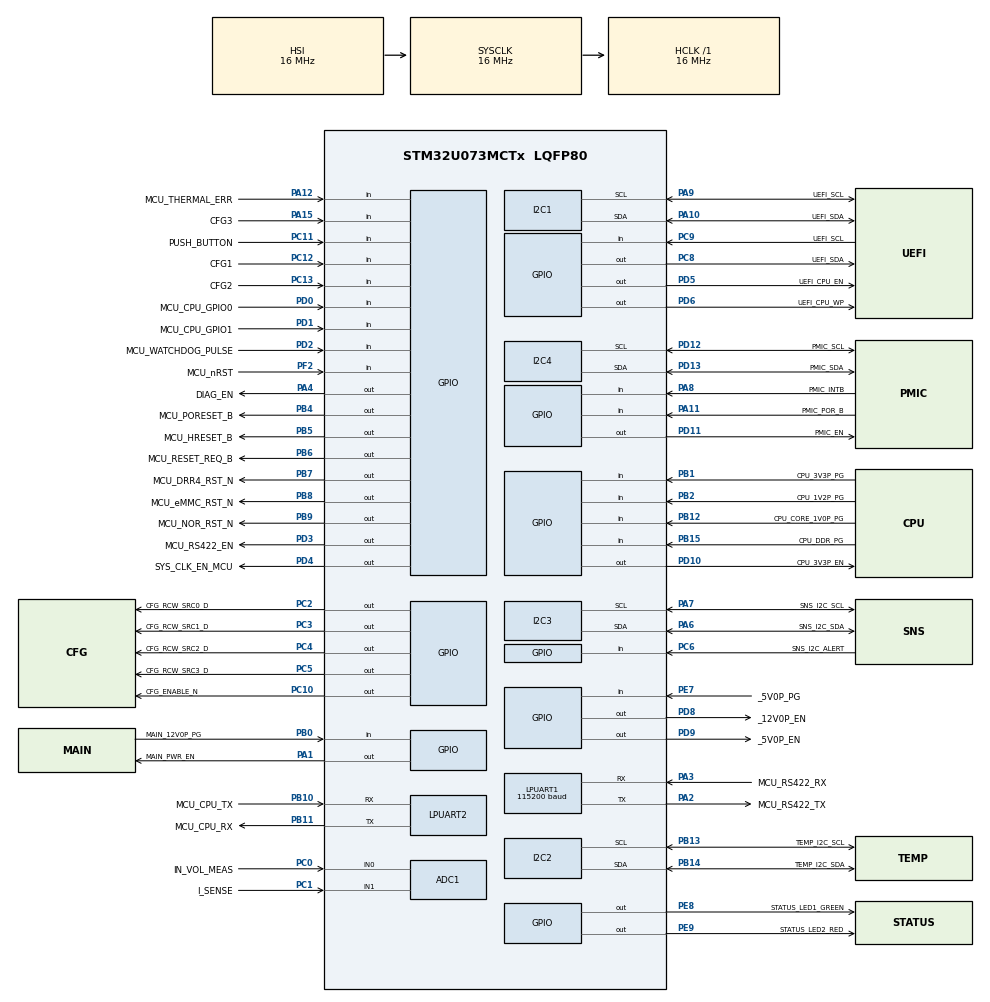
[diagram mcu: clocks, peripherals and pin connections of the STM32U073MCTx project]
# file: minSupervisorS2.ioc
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ADC1.Channel-0\#ChannelRegularConversion=ADC_CHANNEL_0
ADC1.Channel-1\#ChannelRegularConversion=ADC_CHANNEL_1
ADC1.NbrOfConversion=2
ADC1.NbrOfConversionFlag=1
ADC1.Rank-0\#ChannelRegularConversion=1
ADC1.Rank-1\#ChannelRegularConversion=2
ADC1.RankArg-0\#ChannelRegularConversion=ADC_REGULAR_RANK_1
ADC1.RankArg-1\#ChannelRegularConversion=ADC_REGULAR_RANK_2
ADC1.SamplingTime-0\#ChannelRegularConversion=ADC_SAMPLINGTIME_COMMON_1
ADC1.SamplingTime-1\#ChannelRegularConversion=ADC_SAMPLINGTIME_COMMON_1
ADC1.SamplingTimeCommon1=ADC_SAMPLETIME_160CYCLES_5
ADC1.SamplingTimeCommon2=ADC_SAMPLETIME_160CYCLES_5
ADC1.SelectedChannel=ADC_CHANNEL_0|ADC_CHANNEL_1
ADC1.master=1
I2C1.Timing=0x00303D5B
I2C2.Timing=0x00303D5B
I2C3.Timing=0x00303D5B
I2C4.Timing=0x00303D5B
LPUART1.BaudRate=115200
Mcu.Family=STM32U0
Mcu.Name=STM32U073MCTx
Mcu.Package=LQFP80
NVIC.PriorityGroup=NVIC_PRIORITYGROUP_2
PA1.GPIO_Label=MAIN_PWR_EN
PA1.Signal=GPIO_Output
PA10.GPIO_Label=UEFI_SDA
PA10.Mode=I2C
PA10.Signal=I2C1_SDA
PA11\ [PA9].GPIO_Label=PMIC_POR_B
PA11\ [PA9].Signal=GPIO_Input
PA12\ [PA10].GPIO_Label=MCU_THERMAL_ERR
PA12\ [PA10].Signal=GPIO_Input
PA13\ (SWDIO).Mode=Trace_Asynchronous_SW
PA13\ (SWDIO).Signal=DEBUG_JTMS-SWDIO
PA14\ (SWCLK).Mode=Trace_Asynchronous_SW
PA14\ (SWCLK).Signal=DEBUG_JTCK-SWCLK
PA15.GPIO_Label=CFG3
PA15.Signal=GPIO_Input
PA2.GPIO_Label=MCU_RS422_TX
PA2.Mode=Asynchronous
PA2.Signal=LPUART1_TX
PA3.GPIO_Label=MCU_RS422_RX
PA3.Mode=Asynchronous
PA3.Signal=LPUART1_RX
PA4.GPIO_Label=DIAG_EN
PA4.Signal=GPIO_Output
PA6.GPIO_Label=SNS_I2C_SDA
PA6.Mode=I2C
PA6.Signal=I2C3_SDA
PA7.GPIO_Label=SNS_I2C_SCL
PA7.Mode=I2C
PA7.Signal=I2C3_SCL
PA8.GPIO_Label=PMIC_INTB
PA8.Signal=GPIO_Input
PA9.GPIO_Label=UEFI_SCL
PA9.Mode=I2C
PA9.Signal=I2C1_SCL
PB0.GPIO_Label=MAIN_12V0P_PG
PB0.Signal=GPIO_Input
PB1.GPIO_Label=CPU_3V3P_PG
PB1.Signal=GPIO_Input
PB10.GPIO_Label=MCU_CPU_TX
PB10.Mode=Asynchronous
PB10.Signal=LPUART2_RX
PB11.GPIO_Label=MCU_CPU_RX
PB11.Mode=Asynchronous
PB11.Signal=LPUART2_TX
PB12.GPIO_Label=CPU_CORE_1V0P_PG
PB12.Signal=GPIO_Input
PB13.GPIO_Label=TEMP_I2C_SCL
PB13.Mode=I2C
PB13.Signal=I2C2_SCL
PB14.GPIO_Label=TEMP_I2C_SDA
PB14.Mode=I2C
PB14.Signal=I2C2_SDA
PB15.GPIO_Label=CPU_DDR_PG 
PB15.Signal=GPIO_Input
PB2.GPIO_Label=CPU_1V2P_PG
PB2.Signal=GPIO_Input
PB3.GPIO_Label=MCU_SWO
PB3.Mode=Trace_Asynchronous_SW
PB3.Signal=DEBUG_JTDO-SWO
PB4.GPIO_Label=MCU_PORESET_B
PB4.Signal=GPIO_Output
PB5.GPIO_Label=MCU_HRESET_B
PB5.Signal=GPIO_Output
PB6.GPIO_Label=MCU_RESET_REQ_B
PB6.Signal=GPIO_Output
PB7.GPIO_Label=MCU_DRR4_RST_N
PB7.Signal=GPIO_Output
PB8.GPIO_Label=MCU_eMMC_RST_N
PB8.Signal=GPIO_Output
PB9.GPIO_Label=MCU_NOR_RST_N
PB9.Signal=GPIO_Output
PC0.GPIO_Label=IN_VOL_MEAS
PC0.Mode=IN0
PC0.Signal=ADC1_IN0
PC1.GPIO_Label=I_SENSE
PC1.Mode=IN1
PC1.Signal=ADC1_IN1
PC10.GPIO_Label=CFG_ENABLE_N
PC10.Signal=GPIO_Output
PC11.GPIO_Label=PUSH_BUTTON
PC11.Signal=GPIO_Input
PC12.GPIO_Label=CFG1
PC12.Signal=GPIO_Input
PC13.GPIO_Label=CFG2
PC13.Signal=GPIO_Input
PC14-OSC32_IN.GPIO_Label=MCU_OSC_32k_IN
PC14-OSC32_IN.Mode=LSE-External-Oscillator
PC14-OSC32_IN.Signal=RCC_OSC32_IN
PC15-OSC32_OUT.GPIO_Label=MCU_OSC_32k_OUT
PC15-OSC32_OUT.Mode=LSE-External-Oscillator
PC15-OSC32_OUT.Signal=RCC_OSC32_OUT
PC2.GPIO_Label=CFG_RCW_SRC0_D
PC2.Signal=GPIO_Output
PC3.GPIO_Label=CFG_RCW_SRC1_D
PC3.Signal=GPIO_Output
PC4.GPIO_Label=CFG_RCW_SRC2_D
PC4.Signal=GPIO_Output
PC5.GPIO_Label=CFG_RCW_SRC3_D
PC5.Signal=GPIO_Output
PC6.GPIO_Label=SNS_I2C_ALERT
PC6.Signal=GPIO_Input
PC8.GPIO_Label=UEFI_SDA
PC8.Signal=GPIO_Output
PC9.GPIO_Label=UEFI_SCL
PC9.Signal=GPIO_Input
PD0.GPIO_Label=MCU_CPU_GPIO0
PD0.Signal=GPIO_Input
PD1.GPIO_Label=MCU_CPU_GPIO1
PD1.Signal=GPIO_Input
PD10.GPIO_Label=CPU_3V3P_EN
PD10.Signal=GPIO_Output
PD11.GPIO_Label=PMIC_EN
PD11.Signal=GPIO_Output
PD12.GPIO_Label=PMIC_SCL
PD12.Mode=I2C
PD12.Signal=I2C4_SCL
PD13.GPIO_Label=PMIC_SDA
PD13.Mode=I2C
PD13.Signal=I2C4_SDA
PD2.GPIO_Label=MCU_WATCHDOG_PULSE
PD2.Signal=GPIO_Input
PD3.GPIO_Label=MCU_RS422_EN
PD3.Signal=GPIO_Output
PD4.GPIO_Label=SYS_CLK_EN_MCU
PD4.Signal=GPIO_Output
PD5.GPIO_Label=UEFI_CPU_EN
PD5.Signal=GPIO_Output
PD6.GPIO_Label=UEFI_CPU_WP
PD6.Signal=GPIO_Output
PD8.GPIO_Label=_12V0P_EN
PD8.Signal=GPIO_Output
PD9.GPIO_Label=_5V0P_EN
PD9.Signal=GPIO_Output
PE7.GPIO_Label=_5V0P_PG
PE7.Signal=GPIO_Input
PE8.GPIO_Label=STATUS_LED1_GREEN
PE8.Signal=GPIO_Output
PE9.GPIO_Label=STATUS_LED2_RED
PE9.Signal=GPIO_Output
PF0-OSC_IN.GPIO_Label=MCU_XTAL_IN
PF0-OSC_IN.Mode=HSE-External-Oscillator
PF0-OSC_IN.Signal=RCC_OSC_IN
PF1-OSC_OUT.GPIO_Label=MCU_XTAL_OUT
PF1-OSC_OUT.Mode=HSE-External-Oscillator
PF1-OSC_OUT.Signal=RCC_OSC_OUT
PF2-NRST.GPIO_Label=MCU_nRST
PF2-NRST.Signal=GPIO_Input
ProjectManager.HeapSize=0x200
ProjectManager.StackSize=0x400
ProjectManager.TargetToolchain=STM32CubeIDE
RCC.AHBFreq_Value=16000000
RCC.CortexFreq_Value=16000000
RCC.HCLKFreq_Value=16000000
RCC.HSE_VALUE=8000000
RCC.HSI48_VALUE=48000000
RCC.HSI_VALUE=16000000
RCC.MSI_VALUE=4000000
RCC.PLLSourceVirtual=RCC_PLLSOURCE_HSE
RCC.SYSCLKFreq_VALUE=16000000
RCC.VCOOutputFreq_Value=32000000
VP_FLASH_SIG_Activate_FlashIP.Mode=Activate_FlashIP
VP_PWR_VS_SECSignals.Mode=Security/Privilege
board=custom

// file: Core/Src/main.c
/* USER CODE BEGIN Header */
/**
  ******************************************************************************
  * @file           : main.c
  * @brief          : Main program body
  ******************************************************************************
  * @attention
  *
  * Copyright (c) 2025 STMicroelectronics.
  * All rights reserved.
  *
  * This software is licensed under terms that can be found in the LICENSE file
  * in the root directory of this software component.
  * If no LICENSE file comes with this software, it is provided AS-IS.
  *
  ******************************************************************************
  */
/* USER CODE END Header */
#include "main.h"

/* USER CODE BEGIN Includes */
#include "util.h"
#include "INA230.h"
#include "TMP468.h"
/* USER CODE END Includes */

/* USER CODE BEGIN PD */
#define VERSION "0.1 alpha"
/* USER CODE END PD */

ADC_HandleTypeDef hadc1;

I2C_HandleTypeDef hi2c1;
I2C_HandleTypeDef hi2c2;
I2C_HandleTypeDef hi2c3;
I2C_HandleTypeDef hi2c4;

UART_HandleTypeDef hlpuart1;
UART_HandleTypeDef hlpuart2;

void SystemClock_Config(void);
static void MX_GPIO_Init(void);
static void MX_ADC1_Init(void);
static void MX_FLASH_Init(void);
static void MX_I2C1_Init(void);
static void MX_I2C2_Init(void);
static void MX_I2C3_Init(void);
static void MX_I2C4_Init(void);
static void MX_LPUART1_UART_Init(void);
static void MX_LPUART2_UART_Init(void);

/* USER CODE BEGIN 0 */

enum SUPERVISOR_STATE { S_ASSERT, S_RELEASE };
#define STEP_DELAY 200
#define UART_LOG(...) /*Should use LPUART1*/

void ina230write(uint16_t addr, uint8_t reg, uint16_t pData){
  addr <<=1;
  uint8_t data[2]={0};
  data[0]=pData >> 8;
  data[1]=pData & 0xff;

  HAL_I2C_Mem_Write(&hi2c3, addr, reg, 1, data, 2, 1000);
}

uint16_t ina230read(uint16_t addr, uint8_t reg){
  addr <<=1;
  uint8_t data[2]={0};
  HAL_I2C_Mem_Read(&hi2c3, addr, reg, 1, data, 2, 1000);
  uint16_t res = (data[0]<<8)|(data[1]);
  return res;
}

void testINA230(uint8_t addr, uint16_t shuntResistance){
	INA230_t target;
	target = INA230_init(addr, 1, shuntResistance, INA230_SHUNT_ADC_CT_204, INA230_VBUS_ADC_CT_332, INA230_AVG_16, ina230write, ina230read);
	INA230_start(target, INA230_MODE_CONTINOUS_ALL);
	HAL_Delay(100);

	uint16_t id = INA230_getID(target);
	 int16_t bus = INA230_getVoltageBus(target);
	 int16_t shunt = INA230_getVoltageShunt(target);
	 int16_t current = INA230_getCurrent(target);
	uint16_t callibration = INA230_getCalibration(target);
	uint16_t power = INA230_getPower(target);
	log_printf("INA230 id:0x%04x addr 0x%x bus:%5dmV shunt:%4duV A:%3dmA P:%4umW calibr:%u\r\n", id, addr, bus, shunt, current, power, callibration);
	INA230_stop(target);
}

void TMP468write(uint16_t addr, uint8_t reg, uint16_t pData){
  addr <<=1;
  uint8_t data[2]={0};
  data[0]=pData >> 8;
  data[1]=pData & 0xff;

  HAL_I2C_Mem_Write(&hi2c2, addr, reg, 1, data, 2, 1000);
}

uint16_t TMP468read(uint16_t addr, uint8_t reg){
  addr <<=1;
  uint8_t data[2]={0};
  HAL_I2C_Mem_Read(&hi2c2, addr, reg, 1, data, 2, 1000);
  uint16_t res = (data[0]<<8)|(data[1]);
  return res;
}

void testTMP469(void){
	TMP468_t target  = TMP468_init(0x48, TMP468_CONVERSION_RATE_CONTINUOUS, 0, 255.5, 255.5,
					 TMP468write, TMP468read);

//	uint16_t mid = target.i2c_read(target.addr, TMP468_REG_MANID);
//	uint16_t did = target.i2c_read(target.addr, TMP468_REG_DEVID);
//	log_printf("TI instruments TMP469 mid:%x did:%d \r\n", mid, did);

	TMP468_unlock(target);

	do{
		   for (int i = 0; i<9; i++){
			   log_printf("ch%d->%5d  ", i, TMP468_getRemoteTemperature(target, i));
		   }
		   log_printf("\r");
//		   HAL_Delay(100);
	}while(0);

}

void powerUpSequence(){
  const int POWER_GOOD_MAX_DELAY = 1000; // 100; //ms

  log_printf("Power up sequence started with %d ms until HCF \r\n", POWER_GOOD_MAX_DELAY);

//	log_printf("Press button to enable Main Power\r\n");
//  waitBtnPress();
  HAL_GPIO_WritePin(MAIN_PWR_EN_GPIO_Port, MAIN_PWR_EN_Pin, GPIO_PIN_SET);
  log_printf("Main power on; PG not implemented, using max delay \r\n");
  HAL_Delay(POWER_GOOD_MAX_DELAY);

  log_printf("Press button to enable 12V Power\r\n");

  HAL_GPIO_WritePin(_12V0P_EN_GPIO_Port, _12V0P_EN_Pin, GPIO_PIN_SET);
  log_printf("12V  power on; waiting for PowerGood signal\r\n");
  if (!waitSignalTimeout(_12V0P_EN_GPIO_Port, MAIN_12V0P_PG_Pin, GPIO_PIN_SET, POWER_GOOD_MAX_DELAY) ){
	  log_printf("[ERROR] Timeout on MAIN_12V0P_PG! \r\n HCF!\r\n"); HCF();
  } else {
	  log_printf("MAIN_12V0P_PG asserted\r\n");
  }

  log_printf("Press button to enable 3V3 Power\r\n");
  waitBtnPress();
  HAL_GPIO_WritePin(CPU_3V3P_EN_GPIO_Port, CPU_3V3P_EN_Pin, GPIO_PIN_SET);
  log_printf("3V3  power on; waiting for PowerGood signal\r\n");
  if (!waitSignalTimeout(CPU_3V3P_PG_GPIO_Port, CPU_3V3P_PG_Pin, GPIO_PIN_SET, POWER_GOOD_MAX_DELAY) ){
	  log_printf("[ERROR] Timeout on CPU_3V3P_PG! \r\n HCF!\r\n"); HCF();
  } else {
	  log_printf("CPU_3V3P_PG asserted\r\n");
  }

  log_printf("Press button to enable 5V Power\r\n");
  waitBtnPress();
  HAL_GPIO_WritePin(_5V0P_EN_GPIO_Port, _5V0P_EN_Pin, GPIO_PIN_SET);
  log_printf("5V   power on; waiting for PowerGood signal\r\n");
  if (!waitSignalTimeout(_5V0P_PG_GPIO_Port, _5V0P_PG_Pin, GPIO_PIN_SET, POWER_GOOD_MAX_DELAY) ){
	  log_printf("[ERROR] Timeout on _5V0P_PG! \r\n HCF!\r\n"); HCF();
  } else {
	  log_printf("_5V0P_PG asserted\r\n");
  }

  log_printf("Press button to enable PMIC Power\r\n");
  waitBtnPress();
  HAL_GPIO_WritePin(PMIC_EN_GPIO_Port, PMIC_EN_Pin, GPIO_PIN_SET);
  log_printf("PMIC is enabled; waiting for PowerGood signal \r\n");
  if (!waitSignalTimeout(PMIC_POR_B_GPIO_Port, PMIC_POR_B_Pin, GPIO_PIN_SET, POWER_GOOD_MAX_DELAY) ){
	  log_printf("[ERROR] Timeout on PMIC_POR_B! \r\n HCF!\r\n"); HCF();
  } else {
	  log_printf("PMIC_POR_B asserted\r\n");
  }

  //-------------------------------------------------------------------------------------//

  log_printf("Checking power good on automatic rails:\r\n");

  if (!waitSignalTimeout(CPU_1V2P_PG_GPIO_Port, CPU_1V2P_PG_Pin, GPIO_PIN_SET, POWER_GOOD_MAX_DELAY) ){
	  log_printf("[ERROR] Timeout on CPU_1V2P_PG! \r\n HCF!\r\n");
//	  HCF();
  } else {
	  log_printf("CPU_1V2P_PG asserted\r\n");
  }

  if (!waitSignalTimeout(CPU_CORE_1V0P_PG_GPIO_Port, CPU_CORE_1V0P_PG_Pin, GPIO_PIN_SET, POWER_GOOD_MAX_DELAY) ){
	  log_printf("[ERROR] Timeout on CPU_CORE_1V0P_PG! \n HCF!\r\n");
//	  HCF();
  } else {
	  log_printf("CPU_CORE_1V0P_PG asserted\r\n");
  }

  if (!waitSignalTimeout(CPU_DDR_PG_GPIO_Port, CPU_DDR_PG_Pin, GPIO_PIN_SET, POWER_GOOD_MAX_DELAY) ){
	  log_printf("[ERROR] Timeout on CPU_DDR_PG! \r\n HCF!\r\n");
//	  HCF();
  } else {
	  log_printf("CPU_DDR_PG asserted\r\n");
  }

  log_printf("Power up sequence finished!\r\n");
  HAL_Delay(2000);
  log_printf("\033[2J"); //clear and
  do{
	  HAL_Delay(2000);
	  log_printf("\033[H"); //move cursor home
	  reportADC();
	  testINA230(0x40, 2);
	  testINA230(0x41, 2);
	  testINA230(0x42, 4);
	  testINA230(0x43, 4);
	  testINA230(0x44, 4);
	  testINA230(0x45, 1);
	  testINA230(0x46, 2);
	  testINA230(0x47, 2);
	  testINA230(0x48, 1);
	  testINA230(0x49, 2);
	  testINA230(0x4a, 2);

	  testTMP469();
  }while(1);

  	HCF(); //temporary stop
	return;
}

void powerDownSequence(){
	/* Reverse the power up sequence */
	log_printf("Power down started\r\n");
	const int POWER_DOWN_DELAY = 50; //ms
	// WARN: Ordering of the powerdown is important!
	HAL_GPIO_WritePin(PMIC_EN_GPIO_Port, PMIC_EN_Pin, GPIO_PIN_RESET);         log_printf("PMIC  disabled \r\n"); HAL_Delay(POWER_DOWN_DELAY);
	HAL_GPIO_WritePin(CPU_3V3P_EN_GPIO_Port, CPU_3V3P_EN_Pin, GPIO_PIN_RESET); log_printf("3V3   power off\r\n"); HAL_Delay(POWER_DOWN_DELAY);
	HAL_GPIO_WritePin(_5V0P_EN_GPIO_Port, _5V0P_EN_Pin, GPIO_PIN_RESET);       log_printf("5V    power off\r\n"); HAL_Delay(POWER_DOWN_DELAY);
	HAL_GPIO_WritePin(_12V0P_EN_GPIO_Port, _12V0P_EN_Pin, GPIO_PIN_RESET);     log_printf("12V   power off\r\n"); HAL_Delay(POWER_DOWN_DELAY);
	HAL_GPIO_WritePin(MAIN_PWR_EN_GPIO_Port, MAIN_PWR_EN_Pin, GPIO_PIN_RESET); log_printf("Main  power off\r\n"); HAL_Delay(POWER_DOWN_DELAY);

	log_printf("Power down sequence finished!\r\n");
	return;
}

GPIO_PinState checkPowerGood(){
	/* Sample all the power good signals*/
	GPIO_PinState pg = GPIO_PIN_SET;

	pg &= HAL_GPIO_ReadPin(MAIN_12V0P_PG_GPIO_Port, MAIN_12V0P_PG_Pin);
	pg &= HAL_GPIO_ReadPin(CPU_3V3P_PG_GPIO_Port, CPU_3V3P_PG_Pin);
	pg &= HAL_GPIO_ReadPin(_5V0P_PG_GPIO_Port, _5V0P_PG_Pin);
	pg &= HAL_GPIO_ReadPin(PMIC_POR_B_GPIO_Port, PMIC_POR_B_Pin);

	pg &= HAL_GPIO_ReadPin(CPU_1V2P_PG_GPIO_Port, CPU_1V2P_PG_Pin);
	pg &= HAL_GPIO_ReadPin(CPU_CORE_1V0P_PG_GPIO_Port, CPU_CORE_1V0P_PG_Pin);
	pg &= HAL_GPIO_ReadPin(CPU_DDR_PG_GPIO_Port, CPU_DDR_PG_Pin);

	HAL_Delay(STEP_DELAY);
	return pg;
}

void RCW(enum SUPERVISOR_STATE PinState){
	static unsigned char ttable[]={0x0, 0x8, 0x9, 0xa, 0xd, 0xf, 0x00, 0x00};
	unsigned char RCW;
	if(PinState == S_ASSERT ){
		unsigned char dipState =   HAL_GPIO_ReadPin(CFG1_GPIO_Port, CFG1_Pin) \
								 | HAL_GPIO_ReadPin(CFG2_GPIO_Port, CFG2_Pin) << 1 \
								 | HAL_GPIO_ReadPin(CFG3_GPIO_Port, CFG3_Pin) << 2;
		RCW = ttable[dipState];
		log_printf("DipSwitch state: 0x%x \r\n", dipState);
	}
	else{
		RCW = 0b1111; //When the power up procedure is finished, and the RCW is not needed
                      //all the pins are set to 1
	}
    log_printf("RCW: 0x%x \r\n", RCW);

#define GET_BIT(c, n) (((c) >> (n)) & 1)
#define RCW_BIT(c, n) ( GET_BIT(c, n)? GPIO_PIN_SET: GPIO_PIN_RESET)

    HAL_GPIO_WritePin(CFG_RCW_SRC0_D_GPIO_Port, CFG_RCW_SRC0_D_Pin, RCW_BIT(RCW, 0));
    HAL_GPIO_WritePin(CFG_RCW_SRC1_D_GPIO_Port, CFG_RCW_SRC1_D_Pin, RCW_BIT(RCW, 1));
    HAL_GPIO_WritePin(CFG_RCW_SRC2_D_GPIO_Port, CFG_RCW_SRC2_D_Pin, RCW_BIT(RCW, 2));
    HAL_GPIO_WritePin(CFG_RCW_SRC3_D_GPIO_Port, CFG_RCW_SRC3_D_Pin, RCW_BIT(RCW, 3));

	HAL_Delay(STEP_DELAY);
	return;

#undef GET_BIT
#undef RCW_BIT
}

void MCU_RST(enum SUPERVISOR_STATE state){

	GPIO_PinState PinState;

	if (state == S_ASSERT) PinState=GPIO_PIN_RESET; // Reset is activated on a low-voltage state.
	else PinState=GPIO_PIN_SET;

	HAL_GPIO_WritePin(MCU_PORESET_B_GPIO_Port, MCU_PORESET_B_Pin, PinState);
	HAL_GPIO_WritePin(MCU_HRESET_B_GPIO_Port, MCU_HRESET_B_Pin, PinState);
	HAL_GPIO_WritePin(MCU_RESET_REQ_B_GPIO_Port, MCU_RESET_REQ_B_Pin, PinState);
	HAL_GPIO_WritePin(MCU_DRR4_RST_N_GPIO_Port, MCU_DRR4_RST_N_Pin, PinState);
	HAL_GPIO_WritePin(MCU_eMMC_RST_N_GPIO_Port, MCU_eMMC_RST_N_Pin, PinState);
	HAL_GPIO_WritePin(MCU_NOR_RST_N_GPIO_Port, MCU_NOR_RST_N_Pin, PinState);
	HAL_Delay(STEP_DELAY);
	return;
}

void enableClocks(){
	HAL_GPIO_WritePin(SYS_CLK_EN_MCU_GPIO_Port, SYS_CLK_EN_MCU_Pin, GPIO_PIN_SET);
	HAL_Delay(STEP_DELAY);
	return;
}

/* USER CODE END 0 */

int main(void)
{

  /* MCU Configuration--------------------------------------------------------*/

  /* Reset of all peripherals, Initializes the Flash interface and the Systick. */
  HAL_Init();

  /* Configure the system clock */
  SystemClock_Config();

  /* Initialize all configured peripherals */
  MX_GPIO_Init();
  MX_ADC1_Init();
  MX_FLASH_Init();
  MX_I2C1_Init();
  MX_I2C2_Init();
  MX_I2C3_Init();
  MX_I2C4_Init();
  MX_LPUART1_UART_Init();
  MX_LPUART2_UART_Init();

  /* Infinite loop */
  /* USER CODE BEGIN WHILE */

  /*
   * Power up
   */
  //Enable the RS422 level shifter
  HAL_GPIO_WritePin(MCU_RS422_EN_GPIO_Port, MCU_RS422_EN_Pin, GPIO_PIN_SET);
  //Enable i_sense
  HAL_GPIO_WritePin(DIAG_EN_GPIO_Port, DIAG_EN_Pin, GPIO_PIN_SET);
  log_printf("\033[2J\033[H"); //clear and move cursor home
  log_printf("Supervisor version " VERSION "\r\n");
  log_printf("------------------------------\r\n\r\n");

  HAL_Delay(100);

  MCU_RST(S_ASSERT);
  log_printf("MCU reset signal asserted.\r\n");
  powerUpSequence();
  /*Set RCW*/
  RCW(S_ASSERT);
  enableClocks();
  MCU_RST(S_RELEASE);
  RCW(S_RELEASE);
  unsigned int loopCounter=0;
  while (1)
  {
    /* USER CODE END WHILE */

    /* USER CODE BEGIN 3 */
	  if (!checkPowerGood()){
		  //TODO: PowerGood as interrupts, or moving power up sequencing into a state machine.
		  powerDownSequence();
		  HCF();
	  }
	  loopCounter++;
	  HAL_GPIO_WritePin(STATUS_LED1_GREEN_GPIO_Port, STATUS_LED1_GREEN_Pin, (loopCounter >> 2)&0x1); //blink green every multiple of the counter
	  HAL_Delay(STEP_DELAY);
  }
  /* USER CODE END 3 */
}

void SystemClock_Config(void)
{
  RCC_OscInitTypeDef RCC_OscInitStruct = {0};
  RCC_ClkInitTypeDef RCC_ClkInitStruct = {0};

  /** Configure the main internal regulator output voltage
  */
  HAL_PWREx_ControlVoltageScaling(PWR_REGULATOR_VOLTAGE_SCALE2);

  /** Initializes the RCC Oscillators according to the specified parameters
  * in the RCC_OscInitTypeDef structure.
  */
  RCC_OscInitStruct.OscillatorType = RCC_OSCILLATORTYPE_HSI;
  RCC_OscInitStruct.HSIState = RCC_HSI_ON;
  RCC_OscInitStruct.HSICalibrationValue = RCC_HSICALIBRATION_DEFAULT;
  RCC_OscInitStruct.PLL.PLLState = RCC_PLL_NONE;
  if (HAL_RCC_OscConfig(&RCC_OscInitStruct) != HAL_OK)
  {
    Error_Handler();
  }

  /** Initializes the CPU, AHB and APB buses clocks
  */
  RCC_ClkInitStruct.ClockType = RCC_CLOCKTYPE_HCLK|RCC_CLOCKTYPE_SYSCLK
                              |RCC_CLOCKTYPE_PCLK1;
  RCC_ClkInitStruct.SYSCLKSource = RCC_SYSCLKSOURCE_HSI;
  RCC_ClkInitStruct.AHBCLKDivider = RCC_SYSCLK_DIV1;
  RCC_ClkInitStruct.APB1CLKDivider = RCC_HCLK_DIV1;

  if (HAL_RCC_ClockConfig(&RCC_ClkInitStruct, FLASH_LATENCY_1) != HAL_OK)
  {
    Error_Handler();
  }
}

static void MX_ADC1_Init(void)
{

  ADC_ChannelConfTypeDef sConfig = {0};

  /** Configure the global features of the ADC (Clock, Resolution, Data Alignment and number of conversion)
  */
  hadc1.Instance = ADC1;
  hadc1.Init.ClockPrescaler = ADC_CLOCK_SYNC_PCLK_DIV1;
  hadc1.Init.Resolution = ADC_RESOLUTION_12B;
  hadc1.Init.DataAlign = ADC_DATAALIGN_RIGHT;
  hadc1.Init.ScanConvMode = ADC_SCAN_ENABLE;
  hadc1.Init.EOCSelection = ADC_EOC_SINGLE_CONV;
  hadc1.Init.LowPowerAutoWait = DISABLE;
  hadc1.Init.LowPowerAutoPowerOff = DISABLE;
  hadc1.Init.ContinuousConvMode = DISABLE;
  hadc1.Init.NbrOfConversion = 2;
  hadc1.Init.DiscontinuousConvMode = DISABLE;
  hadc1.Init.ExternalTrigConv = ADC_SOFTWARE_START;
  hadc1.Init.ExternalTrigConvEdge = ADC_EXTERNALTRIGCONVEDGE_NONE;
  hadc1.Init.DMAContinuousRequests = DISABLE;
  hadc1.Init.Overrun = ADC_OVR_DATA_PRESERVED;
  hadc1.Init.SamplingTimeCommon1 = ADC_SAMPLETIME_160CYCLES_5;
  hadc1.Init.SamplingTimeCommon2 = ADC_SAMPLETIME_160CYCLES_5;
  hadc1.Init.OversamplingMode = DISABLE;
  hadc1.Init.TriggerFrequencyMode = ADC_TRIGGER_FREQ_HIGH;
  if (HAL_ADC_Init(&hadc1) != HAL_OK)
  {
    Error_Handler();
  }

  /** Configure Regular Channel
  */
  sConfig.Channel = ADC_CHANNEL_0;
  sConfig.Rank = ADC_REGULAR_RANK_1;
  sConfig.SamplingTime = ADC_SAMPLINGTIME_COMMON_1;
  if (HAL_ADC_ConfigChannel(&hadc1, &sConfig) != HAL_OK)
  {
    Error_Handler();
  }

  /** Configure Regular Channel
  */
  sConfig.Channel = ADC_CHANNEL_1;
  sConfig.Rank = ADC_REGULAR_RANK_2;
  if (HAL_ADC_ConfigChannel(&hadc1, &sConfig) != HAL_OK)
  {
    Error_Handler();
  }

}

static void MX_FLASH_Init(void)
{

  if (HAL_FLASH_Unlock() != HAL_OK)
  {
    Error_Handler();
  }
  if (HAL_FLASH_Lock() != HAL_OK)
  {
    Error_Handler();
  }

}

static void MX_I2C1_Init(void)
{

  hi2c1.Instance = I2C1;
  hi2c1.Init.Timing = 0x00303D5B;
  hi2c1.Init.OwnAddress1 = 0;
  hi2c1.Init.AddressingMode = I2C_ADDRESSINGMODE_7BIT;
  hi2c1.Init.DualAddressMode = I2C_DUALADDRESS_DISABLE;
  hi2c1.Init.OwnAddress2 = 0;
  hi2c1.Init.OwnAddress2Masks = I2C_OA2_NOMASK;
  hi2c1.Init.GeneralCallMode = I2C_GENERALCALL_DISABLE;
  hi2c1.Init.NoStretchMode = I2C_NOSTRETCH_DISABLE;
  if (HAL_I2C_Init(&hi2c1) != HAL_OK)
  {
    Error_Handler();
  }

  /** Configure Analogue filter
  */
  if (HAL_I2CEx_ConfigAnalogFilter(&hi2c1, I2C_ANALOGFILTER_ENABLE) != HAL_OK)
  {
    Error_Handler();
  }

  /** Configure Digital filter
  */
  if (HAL_I2CEx_ConfigDigitalFilter(&hi2c1, 0) != HAL_OK)
  {
    Error_Handler();
  }

}

static void MX_I2C2_Init(void)
{

  hi2c2.Instance = I2C2;
  hi2c2.Init.Timing = 0x00303D5B;
  hi2c2.Init.OwnAddress1 = 0;
  hi2c2.Init.AddressingMode = I2C_ADDRESSINGMODE_7BIT;
  hi2c2.Init.DualAddressMode = I2C_DUALADDRESS_DISABLE;
  hi2c2.Init.OwnAddress2 = 0;
  hi2c2.Init.OwnAddress2Masks = I2C_OA2_NOMASK;
  hi2c2.Init.GeneralCallMode = I2C_GENERALCALL_DISABLE;
  hi2c2.Init.NoStretchMode = I2C_NOSTRETCH_DISABLE;
  if (HAL_I2C_Init(&hi2c2) != HAL_OK)
  {
    Error_Handler();
  }

  /** Configure Analogue filter
  */
  if (HAL_I2CEx_ConfigAnalogFilter(&hi2c2, I2C_ANALOGFILTER_ENABLE) != HAL_OK)
  {
    Error_Handler();
  }

  /** Configure Digital filter
  */
  if (HAL_I2CEx_ConfigDigitalFilter(&hi2c2, 0) != HAL_OK)
  {
    Error_Handler();
  }

}

static void MX_I2C3_Init(void)
{

  hi2c3.Instance = I2C3;
  hi2c3.Init.Timing = 0x00303D5B;
  hi2c3.Init.OwnAddress1 = 0;
  hi2c3.Init.AddressingMode = I2C_ADDRESSINGMODE_7BIT;
  hi2c3.Init.DualAddressMode = I2C_DUALADDRESS_DISABLE;
  hi2c3.Init.OwnAddress2 = 0;
  hi2c3.Init.OwnAddress2Masks = I2C_OA2_NOMASK;
  hi2c3.Init.GeneralCallMode = I2C_GENERALCALL_DISABLE;
  hi2c3.Init.NoStretchMode = I2C_NOSTRETCH_DISABLE;
  if (HAL_I2C_Init(&hi2c3) != HAL_OK)
  {
    Error_Handler();
  }

  /** Configure Analogue filter
  */
  if (HAL_I2CEx_ConfigAnalogFilter(&hi2c3, I2C_ANALOGFILTER_ENABLE) != HAL_OK)
  {
    Error_Handler();
  }

  /** Configure Digital filter
  */
  if (HAL_I2CEx_ConfigDigitalFilter(&hi2c3, 0) != HAL_OK)
  {
    Error_Handler();
  }

}

static void MX_I2C4_Init(void)
{

  hi2c4.Instance = I2C4;
  hi2c4.Init.Timing = 0x00303D5B;
  hi2c4.Init.OwnAddress1 = 0;
  hi2c4.Init.AddressingMode = I2C_ADDRESSINGMODE_7BIT;
  hi2c4.Init.DualAddressMode = I2C_DUALADDRESS_DISABLE;
  hi2c4.Init.OwnAddress2 = 0;
  hi2c4.Init.OwnAddress2Masks = I2C_OA2_NOMASK;
  hi2c4.Init.GeneralCallMode = I2C_GENERALCALL_DISABLE;
  hi2c4.Init.NoStretchMode = I2C_NOSTRETCH_DISABLE;
  if (HAL_I2C_Init(&hi2c4) != HAL_OK)
  {
    Error_Handler();
  }

  /** Configure Analogue filter
  */
  if (HAL_I2CEx_ConfigAnalogFilter(&hi2c4, I2C_ANALOGFILTER_ENABLE) != HAL_OK)
  {
    Error_Handler();
  }

  /** Configure Digital filter
  */
  if (HAL_I2CEx_ConfigDigitalFilter(&hi2c4, 0) != HAL_OK)
  {
    Error_Handler();
  }

}

static void MX_LPUART1_UART_Init(void)
{

  hlpuart1.Instance = LPUART1;
  hlpuart1.Init.BaudRate = 115200;
  hlpuart1.Init.WordLength = UART_WORDLENGTH_8B;
  hlpuart1.Init.StopBits = UART_STOPBITS_1;
  hlpuart1.Init.Parity = UART_PARITY_NONE;
  hlpuart1.Init.Mode = UART_MODE_TX_RX;
  hlpuart1.Init.HwFlowCtl = UART_HWCONTROL_NONE;
  hlpuart1.Init.OneBitSampling = UART_ONE_BIT_SAMPLE_DISABLE;
  hlpuart1.AdvancedInit.AdvFeatureInit = UART_ADVFEATURE_NO_INIT;
  hlpuart1.FifoMode = UART_FIFOMODE_DISABLE;
  if (HAL_UART_Init(&hlpuart1) != HAL_OK)
  {
    Error_Handler();
  }
  if (HAL_UARTEx_SetTxFifoThreshold(&hlpuart1, UART_TXFIFO_THRESHOLD_1_8) != HAL_OK)
  {
    Error_Handler();
  }
  if (HAL_UARTEx_SetRxFifoThreshold(&hlpuart1, UART_RXFIFO_THRESHOLD_1_8) != HAL_OK)
  {
    Error_Handler();
  }
  if (HAL_UARTEx_DisableFifoMode(&hlpuart1) != HAL_OK)
  {
    Error_Handler();
  }

}

static void MX_LPUART2_UART_Init(void)
{

  hlpuart2.Instance = LPUART2;
  hlpuart2.Init.BaudRate = 209700;
  hlpuart2.Init.WordLength = UART_WORDLENGTH_8B;
  hlpuart2.Init.StopBits = UART_STOPBITS_1;
  hlpuart2.Init.Parity = UART_PARITY_NONE;
  hlpuart2.Init.Mode = UART_MODE_TX_RX;
  hlpuart2.Init.HwFlowCtl = UART_HWCONTROL_NONE;
  hlpuart2.Init.OneBitSampling = UART_ONE_BIT_SAMPLE_DISABLE;
  hlpuart2.AdvancedInit.AdvFeatureInit = UART_ADVFEATURE_NO_INIT;
  hlpuart2.FifoMode = UART_FIFOMODE_DISABLE;
  if (HAL_UART_Init(&hlpuart2) != HAL_OK)
  {
    Error_Handler();
  }
  if (HAL_UARTEx_SetTxFifoThreshold(&hlpuart2, UART_TXFIFO_THRESHOLD_1_8) != HAL_OK)
  {
    Error_Handler();
  }
  if (HAL_UARTEx_SetRxFifoThreshold(&hlpuart2, UART_RXFIFO_THRESHOLD_1_8) != HAL_OK)
  {
    Error_Handler();
  }
  if (HAL_UARTEx_DisableFifoMode(&hlpuart2) != HAL_OK)
  {
    Error_Handler();
  }

}

static void MX_GPIO_Init(void)
{
  GPIO_InitTypeDef GPIO_InitStruct = {0};

  /* GPIO Ports Clock Enable */
  __HAL_RCC_GPIOC_CLK_ENABLE();
  __HAL_RCC_GPIOF_CLK_ENABLE();
  __HAL_RCC_GPIOA_CLK_ENABLE();
  __HAL_RCC_GPIOB_CLK_ENABLE();
  __HAL_RCC_GPIOE_CLK_ENABLE();
  __HAL_RCC_GPIOD_CLK_ENABLE();

  /*Configure GPIO pin Output Level */
  HAL_GPIO_WritePin(GPIOC, CFG_RCW_SRC0_D_Pin|CFG_RCW_SRC1_D_Pin|CFG_RCW_SRC2_D_Pin|CFG_RCW_SRC3_D_Pin
                          |UEFI_SDA_Pin|CFG_ENABLE_N_Pin, GPIO_PIN_RESET);

  /*Configure GPIO pin Output Level */
  HAL_GPIO_WritePin(GPIOA, MAIN_PWR_EN_Pin|DIAG_EN_Pin, GPIO_PIN_RESET);

  /*Configure GPIO pin Output Level */
  HAL_GPIO_WritePin(GPIOE, STATUS_LED1_GREEN_Pin|STATUS_LED2_RED_Pin, GPIO_PIN_RESET);

  /*Configure GPIO pin Output Level */
  HAL_GPIO_WritePin(GPIOD, _12V0P_EN_Pin|_5V0P_EN_Pin|CPU_3V3P_EN_Pin|PMIC_EN_Pin
                          |MCU_RS422_EN_Pin|SYS_CLK_EN_MCU_Pin|UEFI_CPU_EN_Pin|UEFI_CPU_WP_Pin, GPIO_PIN_RESET);

  /*Configure GPIO pin Output Level */
  HAL_GPIO_WritePin(GPIOB, MCU_PORESET_B_Pin|MCU_HRESET_B_Pin|MCU_RESET_REQ_B_Pin|MCU_DRR4_RST_N_Pin
                          |MCU_eMMC_RST_N_Pin|MCU_NOR_RST_N_Pin, GPIO_PIN_RESET);

  /*Configure GPIO pins : CFG2_Pin SNS_I2C_ALERT_Pin UEFI_SCL_Pin PUSH_BUTTON_Pin
                           CFG1_Pin */
  GPIO_InitStruct.Pin = CFG2_Pin|SNS_I2C_ALERT_Pin|UEFI_SCL_Pin|PUSH_BUTTON_Pin
                          |CFG1_Pin;
  GPIO_InitStruct.Mode = GPIO_MODE_INPUT;
  GPIO_InitStruct.Pull = GPIO_NOPULL;
  HAL_GPIO_Init(GPIOC, &GPIO_InitStruct);

  /*Configure GPIO pin : MCU_nRST_Pin */
  GPIO_InitStruct.Pin = MCU_nRST_Pin;
  GPIO_InitStruct.Mode = GPIO_MODE_INPUT;
  GPIO_InitStruct.Pull = GPIO_NOPULL;
  HAL_GPIO_Init(MCU_nRST_GPIO_Port, &GPIO_InitStruct);

  /*Configure GPIO pins : CFG_RCW_SRC0_D_Pin CFG_RCW_SRC1_D_Pin CFG_RCW_SRC2_D_Pin CFG_RCW_SRC3_D_Pin
                           UEFI_SDA_Pin CFG_ENABLE_N_Pin */
  GPIO_InitStruct.Pin = CFG_RCW_SRC0_D_Pin|CFG_RCW_SRC1_D_Pin|CFG_RCW_SRC2_D_Pin|CFG_RCW_SRC3_D_Pin
                          |UEFI_SDA_Pin|CFG_ENABLE_N_Pin;
  GPIO_InitStruct.Mode = GPIO_MODE_OUTPUT_PP;
  GPIO_InitStruct.Pull = GPIO_NOPULL;
  GPIO_InitStruct.Speed = GPIO_SPEED_FREQ_LOW;
  HAL_GPIO_Init(GPIOC, &GPIO_InitStruct);

  /*Configure GPIO pins : MAIN_PWR_EN_Pin DIAG_EN_Pin */
  GPIO_InitStruct.Pin = MAIN_PWR_EN_Pin|DIAG_EN_Pin;
  GPIO_InitStruct.Mode = GPIO_MODE_OUTPUT_PP;
  GPIO_InitStruct.Pull = GPIO_NOPULL;
  GPIO_InitStruct.Speed = GPIO_SPEED_FREQ_LOW;
  HAL_GPIO_Init(GPIOA, &GPIO_InitStruct);

  /*Configure GPIO pins : MAIN_12V0P_PG_Pin CPU_3V3P_PG_Pin CPU_1V2P_PG_Pin CPU_CORE_1V0P_PG_Pin
                           CPU_DDR_PG_Pin */
  GPIO_InitStruct.Pin = MAIN_12V0P_PG_Pin|CPU_3V3P_PG_Pin|CPU_1V2P_PG_Pin|CPU_CORE_1V0P_PG_Pin
                          |CPU_DDR_PG_Pin;
  GPIO_InitStruct.Mode = GPIO_MODE_INPUT;
  GPIO_InitStruct.Pull = GPIO_NOPULL;
  HAL_GPIO_Init(GPIOB, &GPIO_InitStruct);

  /*Configure GPIO pin : _5V0P_PG_Pin */
  GPIO_InitStruct.Pin = _5V0P_PG_Pin;
  GPIO_InitStruct.Mode = GPIO_MODE_INPUT;
  GPIO_InitStruct.Pull = GPIO_NOPULL;
  HAL_GPIO_Init(_5V0P_PG_GPIO_Port, &GPIO_InitStruct);

  /*Configure GPIO pins : STATUS_LED1_GREEN_Pin STATUS_LED2_RED_Pin */
  GPIO_InitStruct.Pin = STATUS_LED1_GREEN_Pin|STATUS_LED2_RED_Pin;
  GPIO_InitStruct.Mode = GPIO_MODE_OUTPUT_PP;
  GPIO_InitStruct.Pull = GPIO_NOPULL;
  GPIO_InitStruct.Speed = GPIO_SPEED_FREQ_LOW;
  HAL_GPIO_Init(GPIOE, &GPIO_InitStruct);

  /*Configure GPIO pins : _12V0P_EN_Pin _5V0P_EN_Pin CPU_3V3P_EN_Pin PMIC_EN_Pin
                           MCU_RS422_EN_Pin SYS_CLK_EN_MCU_Pin UEFI_CPU_EN_Pin UEFI_CPU_WP_Pin */
  GPIO_InitStruct.Pin = _12V0P_EN_Pin|_5V0P_EN_Pin|CPU_3V3P_EN_Pin|PMIC_EN_Pin
                          |MCU_RS422_EN_Pin|SYS_CLK_EN_MCU_Pin|UEFI_CPU_EN_Pin|UEFI_CPU_WP_Pin;
  GPIO_InitStruct.Mode = GPIO_MODE_OUTPUT_PP;
  GPIO_InitStruct.Pull = GPIO_NOPULL;
  GPIO_InitStruct.Speed = GPIO_SPEED_FREQ_LOW;
  HAL_GPIO_Init(GPIOD, &GPIO_InitStruct);

  /*Configure GPIO pins : PMIC_INTB_Pin PMIC_POR_B_Pin MCU_THERMAL_ERR_Pin CFG3_Pin */
  GPIO_InitStruct.Pin = PMIC_INTB_Pin|PMIC_POR_B_Pin|MCU_THERMAL_ERR_Pin|CFG3_Pin;
  GPIO_InitStruct.Mode = GPIO_MODE_INPUT;
  GPIO_InitStruct.Pull = GPIO_NOPULL;
  HAL_GPIO_Init(GPIOA, &GPIO_InitStruct);

  /*Configure GPIO pins : MCU_CPU_GPIO0_Pin MCU_CPU_GPIO1_Pin MCU_WATCHDOG_PULSE_Pin */
  GPIO_InitStruct.Pin = MCU_CPU_GPIO0_Pin|MCU_CPU_GPIO1_Pin|MCU_WATCHDOG_PULSE_Pin;
  GPIO_InitStruct.Mode = GPIO_MODE_INPUT;
  GPIO_InitStruct.Pull = GPIO_NOPULL;
  HAL_GPIO_Init(GPIOD, &GPIO_InitStruct);

  /*Configure GPIO pins : MCU_PORESET_B_Pin MCU_HRESET_B_Pin MCU_RESET_REQ_B_Pin MCU_DRR4_RST_N_Pin
                           MCU_eMMC_RST_N_Pin MCU_NOR_RST_N_Pin */
  GPIO_InitStruct.Pin = MCU_PORESET_B_Pin|MCU_HRESET_B_Pin|MCU_RESET_REQ_B_Pin|MCU_DRR4_RST_N_Pin
                          |MCU_eMMC_RST_N_Pin|MCU_NOR_RST_N_Pin;
  GPIO_InitStruct.Mode = GPIO_MODE_OUTPUT_PP;
  GPIO_InitStruct.Pull = GPIO_NOPULL;
  GPIO_InitStruct.Speed = GPIO_SPEED_FREQ_LOW;
  HAL_GPIO_Init(GPIOB, &GPIO_InitStruct);

}

void Error_Handler(void)
{
  __disable_irq();
  while (1)
  {
  }
}
